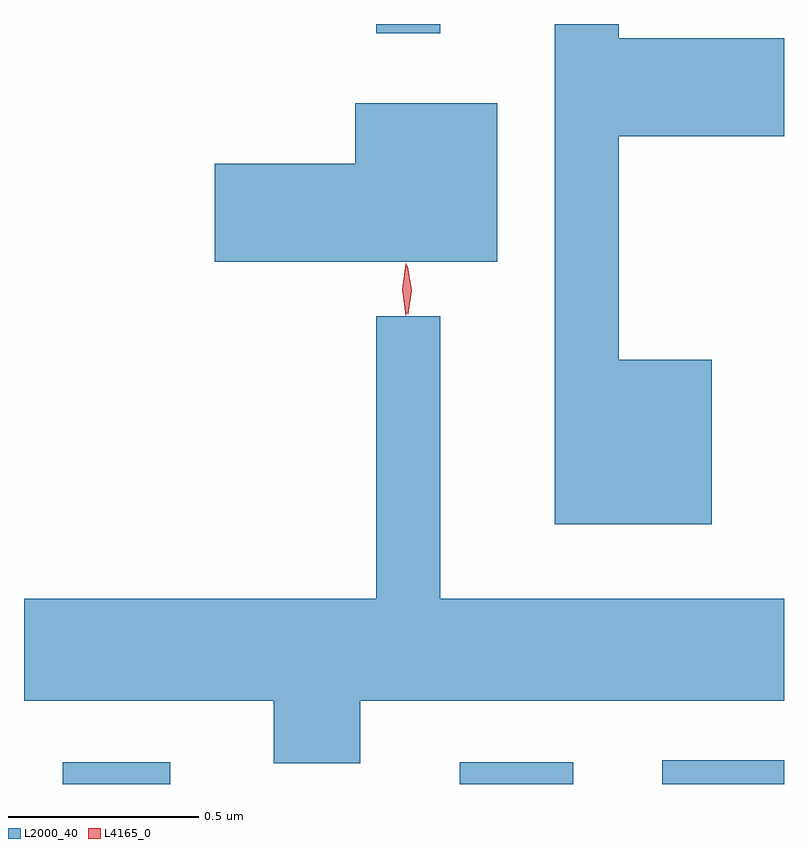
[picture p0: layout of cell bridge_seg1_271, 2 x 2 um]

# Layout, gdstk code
import gdstk
lib = gdstk.Library(unit=1e-6, precision=1e-09)
def R(c, l, rs):  # rectangles x0, y0, x1, y1
    for r in rs: c.add(gdstk.rectangle(r[:2], r[2:], *l))
def P(c, l, *ps):  # polygons
    for p in ps: c.add(gdstk.Polygon(p, *l))
L2000_40 = (2000, 40)
L4165_0 = (4165, 0)

bridge_seg1_271 = lib.new_cell('bridge_seg1_271')
R(bridge_seg1_271, L2000_40, [(963.406,883.817,963.689,883.874), (964.451,883.817,964.749,883.874), (964.983,883.817,965.304,883.879), (964.231,885.793,964.399,885.817)])
P(bridge_seg1_271, L2000_40, [(965.114,884.934),(964.869,884.934),(964.869,885.521),(965.304,885.521),(965.304,885.779),(964.869,885.779),(964.869,885.817),(964.701,885.817),(964.701,884.501),(965.114,884.501)],
  [(964.549,885.609),(964.176,885.609),(964.176,885.449),(963.806,885.449),(963.806,885.191),(964.549,885.191)],
  [(964.189,884.036),(965.304,884.036),(965.304,884.304),(964.399,884.304),(964.399,885.048),(964.231,885.048),(964.231,884.304),(963.304,884.304),(963.304,884.036),(963.961,884.036),(963.961,883.871),(964.189,883.871)])
P(bridge_seg1_271, L4165_0, [(964.309,885.05),(964.299,885.118),(964.308,885.186),(964.309,885.186),(964.31,885.186),(964.319,885.118),(964.31,885.05),(964.31,885.05)],
  [(964.314,885.053),(964.304,885.116),(964.313,885.179),(964.313,885.18),(964.314,885.179),(964.324,885.116),(964.315,885.053),(964.315,885.053)])

lib.write_gds('bridge_seg1_271.gds')
